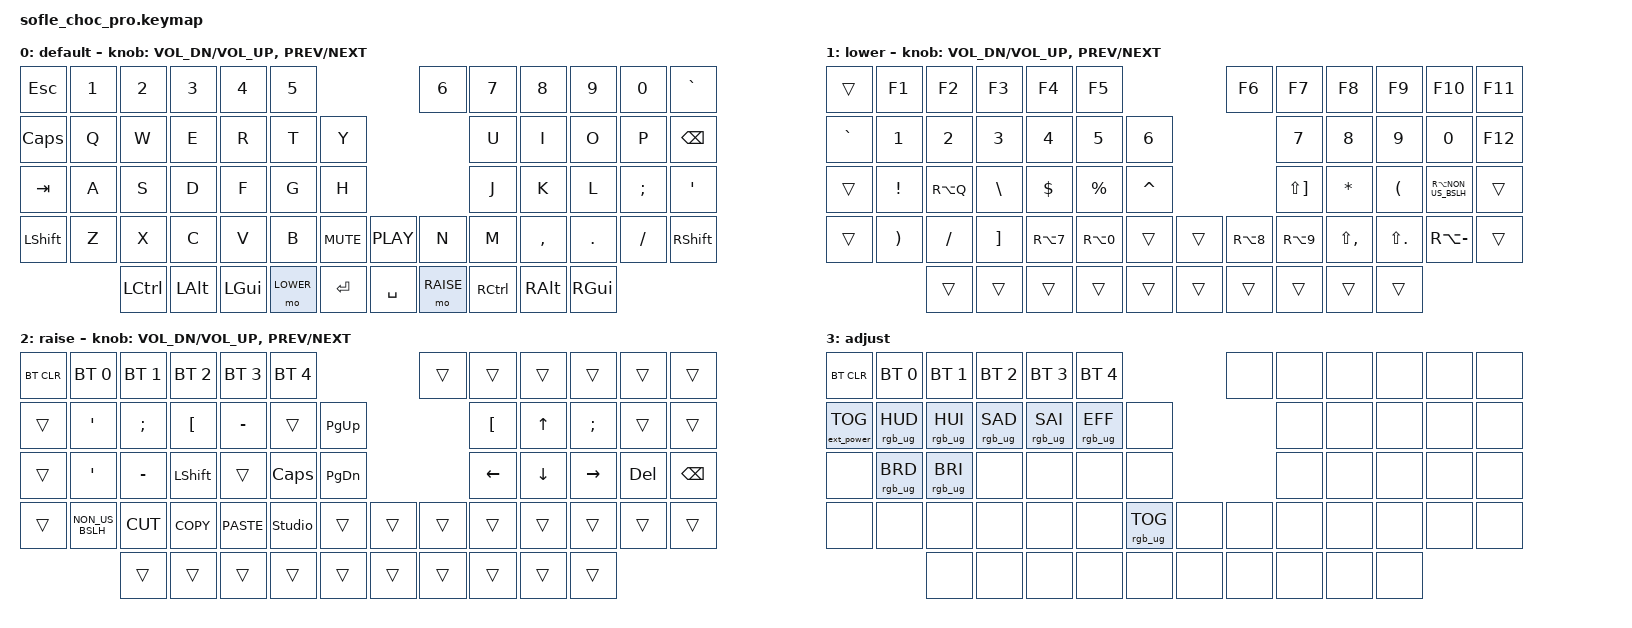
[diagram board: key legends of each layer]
/*
 * Copyright (c) 2020 The ZMK Contributors
 *
 * SPDX-License-Identifier: MIT
 */

#include <behaviors.dtsi>
#include <dt-bindings/zmk/bt.h>
#include <dt-bindings/zmk/ext_power.h>
#include <dt-bindings/zmk/keys.h>
#include <dt-bindings/zmk/rgb.h>

#define BASE   0
#define LOWER  1
#define RAISE  2
#define ADJUST 3

/ {
    // Activate ADJUST layer by pressing raise and lower

    conditional_layers {
        compatible = "zmk,conditional-layers";

        adjust_layer {
            if-layers = <LOWER RAISE>;
            then-layer = <ADJUST>;
        };
    };

    keymap {
        compatible = "zmk,keymap";

        default_layer {
            display-name = "default";

            // Standard-US-Keycodes; das deutsche OS-Layout macht daraus QWERTZ.
            // Y-Taste→z, Z-Taste→y erledigt das OS automatisch — KEIN Tausch im keymap.
            // SEMI → ö, SQT → ä (nativ über DE-OS).
            // Umlaute ä ö ü ß und < > liegen auf RAISE (siehe unten). Daumen außen = GUI/Cmd.
            // -----------------------------------------------------------------------
            // |  ESC  |  1  |  2  |  3  |  4  |  5  |           |  6  |  7  |  8  |  9  |  0  |  ^  |
            // | CAPS  |  Q  |  W  |  E  |  R  |  T  |           |  Z  |  U  |  I  |  O  |  P  | BSP |
            // |  TAB  |  A  |  S  |  D  |  F  |  G  |           |  H  |  J  |  K  |  L  |  ö  |  ä  |
            // | SHFT  |  Y  |  X  |  C  |  V  |  B  |VOL| |PLAY |  N  |  M  |  ,  |  .  |  -  | SHF |
            //               | CTL | ALT | GUI | LOW | ENT| |SPC  | RSE | CTL | AGR |UML/GUI

            bindings = <
&kp ESC       &kp N1  &kp N2     &kp N3    &kp N4    &kp N5                             &kp N6     &kp N7     &kp N8     &kp N9    &kp N0    &kp GRAVE
&kp CAPSLOCK  &kp Q   &kp W      &kp E     &kp R     &kp T      &kp Y                              &kp U      &kp I      &kp O     &kp P     &kp BSPC
&kp TAB       &kp A   &kp S      &kp D     &kp F     &kp G      &kp H                              &kp J      &kp K      &kp L     &kp SEMI  &kp SQT
&kp LSHFT     &kp Z   &kp X      &kp C     &kp V     &kp B      &kp C_MUTE  &kp C_PLAY  &kp N      &kp M      &kp COMMA  &kp DOT   &kp FSLH  &kp RSHFT
                       &kp LCTRL  &kp LALT  &kp LGUI  &mo LOWER  &kp RET     &kp SPACE   &mo RAISE  &kp RCTRL  &kp RALT   &kp RGUI
            >;

            sensor-bindings = <&inc_dec_kp C_VOL_DN C_VOL_UP &inc_dec_kp C_PREV C_NEXT>;
        };

        lower_layer {
            display-name = "lower";

            // Keycodes korrigiert für deutsches OS-Layout (QWERTZ).
            // Was US-ZMK-Namen suggerieren ≠ was DE-OS ausgibt — kommentierte Zeichen
            // zeigen, was tatsächlich getippt wird.
            // -----------------------------------------------------------------------
            // |      | F1  | F2  | F3  | F4  | F5  |           | F6  | F7  | F8  | F9  | F10 | F11 |
            // |  ^   |  1  |  2  |  3  |  4  |  5  |           |  6  |  7  |  8  |  9  |  0  | F12 |
            // |      |  !  |  @  |  #  |  $  |  %  |           |  &  |  *  |  (  |  )  |  |  |     |
            // |      |  =  |  -  |  +  |  {  |  }  |    | |    |  [  |  ]  |  ;  |  :  |  \  |     |
            //               |     |     |     |     |    | |    |     |     |     |     |
            //
            // Symboltabelle (ZMK-Keycode → DE-OS-Ausgabe):
            //   EXCL=!  RA(Q)=@  BSLH=#  DLLR=$  PRCNT=%
            //   CARET=&  LS(RBKT)=*  ASTRK=(  LPAR=)  RA(NON_US_BSLH)=|
            //   RPAR==  FSLH=-  RBKT=+  RA(N7)={  RA(N0)=}
            //   RA(N8)=[  RA(N9)=]  LS(COMMA)=;  LS(DOT)=:  RA(MINUS)=\

            bindings = <
&trans     &kp F1        &kp F2     &kp F3               &kp F4       &kp F5                               &kp F6       &kp F7        &kp F8        &kp F9       &kp F10              &kp F11
&kp GRAVE  &kp N1        &kp N2     &kp N3               &kp N4       &kp N5        &kp N6                              &kp N7        &kp N8        &kp N9       &kp N0               &kp F12
&trans     &kp EXCL      &kp RA(Q)  &kp BSLH             &kp DLLR     &kp PRCNT     &kp CARET                           &kp LS(RBKT)  &kp ASTRK     &kp LPAR     &kp RA(NON_US_BSLH)  &trans
&trans     &kp RPAR      &kp FSLH   &kp RBKT             &kp RA(N7)   &kp RA(N0)    &trans        &trans  &kp RA(N8)   &kp RA(N9)    &kp LS(COMMA) &kp LS(DOT)  &kp RA(MINUS)        &trans
                          &trans     &trans               &trans       &trans        &trans        &trans  &trans       &trans        &trans        &trans
            >;

            sensor-bindings = <&inc_dec_kp C_VOL_DN C_VOL_UP &inc_dec_kp C_PREV C_NEXT>;
        };

        raise_layer {
            display-name = "raise";

            // TEST — Umlaute doppelt belegt zum Vergleichen:
            //   Variante 1: obere Reihe Q/W/E/R = ä ö ü ß
            //   Variante 2: mnemonisch  a=ä s=ß  (links) / u=ü o=ö (rechts)
            // < auf der y-Taste unten links (Shift = >) → Fensterwechsel: GUI+RAISE+y = Cmd+< .
            // Hinweis: a/s überschreiben hier temporär LALT/LCTRL (nur Testphase).
            // ------------------------------------------------------------------------------------------------------------
            // | BTCLR | BT1  | BT2  |  BT3  |  BT4  |  BT5 |                |      |      |       |      |       |       |
            // |       |  ä   |  ö   |  ü    |  ß    |      |                | PGUP |      |   ^   |      |       |       |
            // |       | ALT  | CTRL | SHIFT |       | CAPS |                | PGDN |   <- |   v   |  ->  |  DEL  | BKSPC |
            // |       |  <   | CUT  | COPY  | PASTE | STUD |      |  |      |      |      |       |      |       |       |
            //                |      |       |       |      |      |  |      |      |      |       |      |

            bindings = <
&bt BT_CLR  &bt BT_SEL 0  &bt BT_SEL 1  &bt BT_SEL 2  &bt BT_SEL 3  &bt BT_SEL 4                       &trans  &trans    &trans    &trans     &trans   &trans
&trans      &kp SQT       &kp SEMI      &kp LBKT      &kp MINUS     &trans          &kp PG_UP                  &kp LBKT  &kp UP    &kp SEMI   &trans   &trans
&trans      &kp SQT       &kp MINUS     &kp LSHFT     &trans        &kp CLCK        &kp PG_DN                  &kp LEFT  &kp DOWN  &kp RIGHT  &kp DEL  &kp BSPC
&trans      &kp NON_US_BSLH &kp K_CUT   &kp K_COPY    &kp K_PASTE   &studio_unlock  &trans     &trans  &trans  &trans    &trans    &trans     &trans   &trans
                          &trans        &trans        &trans        &trans          &trans     &trans  &trans  &trans    &trans    &trans
            >;

            sensor-bindings = <&inc_dec_kp C_VOL_DN C_VOL_UP &inc_dec_kp C_PREV C_NEXT>;
        };

        adjust_layer {
            // ----------------------------------------------------------------------------------------------------------------------------
            // | BTCLR  |  BT1    |  BT2    |   BT3   |   BT4   |   BT5   |                  |      |      |       |      |       |       |
            // | EXTPWR | RGB_HUD | RGB_HUI | RGB_SAD | RGB_SAI | RGB_EFF |                  |      |      |       |      |       |       |
            // |        | RGB_BRD | RGB_BRI |         |         |         |                  |      |      |       |      |       |       |
            // |        |         |         |         |         |         | RGB_TOG | |      |      |      |       |      |       |       |
            //                    |         |         |         |         |         | |      |      |      |       |      |

            display-name = "adjust";
            bindings = <
&bt BT_CLR         &bt BT_SEL 0     &bt BT_SEL 1     &bt BT_SEL 2     &bt BT_SEL 3     &bt BT_SEL 4                             &none  &none  &none  &none  &none  &none
&ext_power EP_TOG  &rgb_ug RGB_HUD  &rgb_ug RGB_HUI  &rgb_ug RGB_SAD  &rgb_ug RGB_SAI  &rgb_ug RGB_EFF  &none                          &none  &none  &none  &none  &none
&none              &rgb_ug RGB_BRD  &rgb_ug RGB_BRI  &none            &none            &none            &none                          &none  &none  &none  &none  &none
&none              &none            &none            &none            &none            &none            &rgb_ug RGB_TOG  &none  &none  &none  &none  &none  &none  &none
                                    &none            &none            &none            &none            &none            &none  &none  &none  &none  &none
            >;
        };

    };
};
